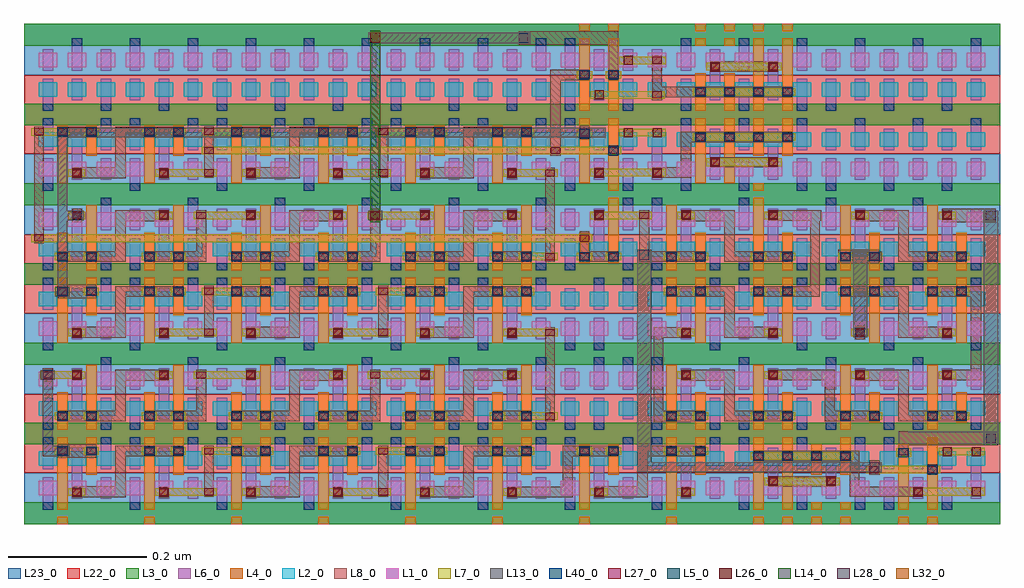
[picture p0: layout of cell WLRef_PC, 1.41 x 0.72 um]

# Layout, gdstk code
from math import pi, radians
import gdstk
lib = gdstk.Library(unit=1e-6, precision=2.5e-10)
def R(c, l, rs):  # rectangles x0, y0, x1, y1
    for r in rs: c.add(gdstk.rectangle(r[:2], r[2:], *l))
def A(c, l, x, y, w, h, nx, ny, dx, dy):  # array of equal rectangles
    R(c, l, [(x+i*dx, y+j*dy, x+i*dx+w, y+j*dy+h) for i in range(nx) for j in range(ny)])
def P(c, l, *ps):  # polygons
    for p in ps: c.add(gdstk.Polygon(p, *l))
L1_0 = (1, 0)
L2_0 = (2, 0)
L3_0 = (3, 0)
L4_0 = (4, 0)
L5_0 = (5, 0)
L6_0 = (6, 0)
L7_0 = (7, 0)
L8_0 = (8, 0)
L13_0 = (13, 0)
L14_0 = (14, 0)
L22_0 = (22, 0)
L23_0 = (23, 0)
L26_0 = (26, 0)
L27_0 = (27, 0)
L28_0 = (28, 0)
L32_0 = (32, 0)
L40_0 = (40, 0)

sram_filler = lib.new_cell('sram_filler')
R(sram_filler, L1_0, [(0.022,0.042,0.049,0.063), (0.064,0.042,0.091,0.063)])
R(sram_filler, L2_0, [(0.022,0.0845,0.049,0.1055), (0.064,0.0845,0.091,0.1055)])
R(sram_filler, L3_0, [(0.001,0,0.112,0.0315), (0.001,0.1155,0.112,0.147)])
R(sram_filler, L6_0, [(0.028,0.021,0.043,0.068), (0.07,0.037,0.085,0.068), (0.028,0.0795,0.043,0.1105), (0.07,0.0795,0.085,0.126)])
R(sram_filler, L22_0, [(0.001,0.0745,0.112,0.147)])
R(sram_filler, L23_0, [(0.001,0,0.112,0.0745)])
R(sram_filler, L40_0, [(0.028,0.021,0.043,0.0315), (0.07,0.1155,0.085,0.126)])

invx4 = lib.new_cell('invx4')
A(invx4, L1_0, 0.027, 0.042, 0.027, 0.021, 5, 1, 0.042, 0)
A(invx4, L2_0, 0.027, 0.0845, 0.027, 0.021, 5, 1, 0.042, 0)
R(invx4, L3_0, [(0.006,0,0.243,0.0315), (0.006,0.1155,0.243,0.147)])
R(invx4, L4_0, [(0.138,0,0.153,0.0105), (0.138,0.021,0.153,0.0315), (0.054,0.0315,0.069,0.126), (0.096,0.0315,0.111,0.126), (0.138,0.0715,0.153,0.1155), (0.18,0.0715,0.195,0.126), (0.054,0.1365,0.069,0.147), (0.096,0.1365,0.111,0.147), (0.18,0.1365,0.195,0.147)])
A(invx4, L5_0, 0.054, 0.092, 0.015, 0.013, 4, 1, 0.042, 0)
A(invx4, L6_0, 0.033, 0.021, 0.015, 0.047, 3, 1, 0.084, 0)
A(invx4, L6_0, 0.033, 0.0795, 0.015, 0.0465, 3, 1, 0.084, 0)
R(invx4, L6_0, [(0.075,0.037,0.09,0.1105), (0.159,0.037,0.174,0.1105)])
R(invx4, L7_0, [(0.07,0.0565,0.179,0.0675), (0.0505,0.093,0.1985,0.104)])
R(invx4, L8_0, [(0.0755,0.0545,0.1735,0.0695), (0.0545,0.091,0.1945,0.106)])
R(invx4, L22_0, [(0.006,0.0745,0.243,0.147)])
R(invx4, L23_0, [(0.006,0,0.243,0.0745)])
R(invx4, L26_0, [(0.076,0.0555,0.089,0.0685), (0.16,0.0555,0.173,0.0685)])
A(invx4, L27_0, 0.0545, 0.0935, 0.014, 0.01, 4, 1, 0.042, 0)
R(invx4, L27_0, [(0.0755,0.057,0.0895,0.067), (0.1595,0.057,0.1735,0.067)])
A(invx4, L40_0, 0.033, 0.021, 0.015, 0.0105, 3, 2, 0.084, 0.0945)

inv = lib.new_cell('inv')
A(inv, L1_0, 0.021, 0.042, 0.027, 0.021, 3, 1, 0.042, 0)
A(inv, L2_0, 0.021, 0.0845, 0.027, 0.021, 3, 1, 0.042, 0)
R(inv, L3_0, [(0,0,0.153,0.0315), (0,0.1155,0.153,0.147)])
R(inv, L4_0, [(0.048,0.0315,0.063,0.1155), (0.09,0.0715,0.105,0.1155)])
R(inv, L5_0, [(0.048,0.0995,0.063,0.1125), (0.09,0.0995,0.105,0.1125)])
R(inv, L6_0, [(0.027,0.021,0.042,0.068), (0.069,0.037,0.084,0.1105), (0.111,0.037,0.126,0.068), (0.027,0.0795,0.042,0.126), (0.111,0.0795,0.126,0.126)])
R(inv, L7_0, [(0.064,0.041,0.089,0.052), (0.0445,0.1005,0.0665,0.1115), (0.0865,0.1005,0.1085,0.1115)])
R(inv, L8_0, [(0.0695,0.039,0.0835,0.054), (0.0485,0.0985,0.1045,0.1135)])
R(inv, L22_0, [(0,0.0745,0.153,0.147)])
R(inv, L23_0, [(0,0,0.153,0.0745)])
R(inv, L26_0, [(0.07,0.04,0.083,0.053)])
R(inv, L27_0, [(0.0695,0.0415,0.0835,0.0515), (0.0485,0.101,0.0625,0.111), (0.0905,0.101,0.1045,0.111)])
R(inv, L40_0, [(0.027,0.021,0.042,0.0315), (0.027,0.1155,0.042,0.126), (0.111,0.1155,0.126,0.126)])

buffer = lib.new_cell('buffer')
R(buffer, L3_0, [(0.045,0.0065,0.0615,0.0165), (0.13,0.1315,0.145,0.143)])
R(buffer, L8_0, [(0.217,0.0435,0.2275,0.053)])
P(buffer, L8_0, [(0.2125,0.114),(0.2125,0.099),(0.167,0.099),(0.167,0.0395),(0.0895,0.0395),(0.0895,0.0555),(0.152,0.0555),(0.152,0.114)])
buffer.add(gdstk.Reference(inv, (0.146,0.0005)))
buffer.add(gdstk.Reference(inv, (0.02,0.0005)))

nand = lib.new_cell('nand')
A(nand, L1_0, 0.1255, 0.099, 0.027, 0.021, 4, 1, 0.042, 0)
A(nand, L2_0, 0.1255, 0.1415, 0.027, 0.021, 4, 1, 0.042, 0)
R(nand, L3_0, [(0.1045,0.057,0.2995,0.0885), (0.1045,0.1725,0.2995,0.204)])
R(nand, L4_0, [(0.1525,0.057,0.1675,0.0675), (0.1945,0.057,0.2095,0.0675), (0.1525,0.078,0.1675,0.183), (0.1945,0.078,0.2095,0.183), (0.1525,0.1935,0.1675,0.204), (0.1945,0.1935,0.2095,0.204)])
R(nand, L5_0, [(0.1525,0.1245,0.1675,0.1375), (0.1945,0.1245,0.2095,0.1375)])
A(nand, L6_0, 0.1735, 0.094, 0.015, 0.031, 3, 1, 0.042, 0)
R(nand, L6_0, [(0.1315,0.078,0.1465,0.125), (0.1315,0.1365,0.1465,0.183), (0.1735,0.1365,0.1885,0.1675), (0.2155,0.1365,0.2305,0.183), (0.2575,0.1365,0.2725,0.1675)])
R(nand, L7_0, [(0.2105,0.1045,0.2775,0.1155), (0.149,0.1255,0.171,0.1365), (0.191,0.1255,0.213,0.1365), (0.1685,0.1545,0.276,0.1655)])
R(nand, L8_0, [(0.258,0.1025,0.272,0.1675), (0.153,0.1235,0.167,0.1385), (0.195,0.1235,0.209,0.1385)])
R(nand, L22_0, [(0.1045,0.1315,0.2995,0.204)])
R(nand, L23_0, [(0.1045,0.057,0.2995,0.1315)])
R(nand, L26_0, [(0.2165,0.1035,0.2295,0.1165), (0.1745,0.1535,0.1875,0.1665)])
R(nand, L27_0, [(0.258,0.105,0.272,0.115), (0.153,0.126,0.167,0.136), (0.195,0.126,0.209,0.136), (0.258,0.155,0.272,0.165)])
R(nand, L40_0, [(0.1315,0.078,0.1465,0.0885), (0.1315,0.1725,0.1465,0.183), (0.2155,0.1725,0.2305,0.183)])

nor = lib.new_cell('nor')
A(nor, L1_0, 0.178, 0.0425, 0.027, 0.021, 4, 1, 0.042, 0)
A(nor, L2_0, 0.178, 0.085, 0.027, 0.021, 4, 1, 0.042, 0)
R(nor, L3_0, [(0.157,0.0005,0.352,0.032), (0.157,0.116,0.352,0.1475)])
R(nor, L4_0, [(0.247,0.0005,0.262,0.011), (0.247,0.0215,0.262,0.1265), (0.205,0.032,0.22,0.116), (0.247,0.137,0.262,0.1475)])
R(nor, L5_0, [(0.247,0.073,0.262,0.086), (0.205,0.0975,0.22,0.1105)])
R(nor, L6_0, [(0.184,0.0215,0.199,0.0685), (0.268,0.0215,0.283,0.0685), (0.226,0.0375,0.241,0.0685), (0.31,0.0375,0.325,0.111), (0.184,0.08,0.199,0.1265), (0.226,0.08,0.241,0.111), (0.268,0.08,0.283,0.111)])
R(nor, L7_0, [(0.221,0.042,0.33,0.053), (0.2435,0.074,0.2655,0.085), (0.2015,0.0985,0.2235,0.1105), (0.263,0.1,0.33,0.111)])
R(nor, L8_0, [(0.2265,0.04,0.2405,0.055), (0.2475,0.072,0.2615,0.087), (0.2055,0.098,0.2195,0.113)])
R(nor, L22_0, [(0.157,0.075,0.352,0.1325)])
R(nor, L23_0, [(0.157,0.0005,0.352,0.075)])
R(nor, L26_0, [(0.227,0.041,0.24,0.054), (0.311,0.041,0.324,0.054), (0.269,0.099,0.282,0.112), (0.311,0.099,0.324,0.112)])
R(nor, L27_0, [(0.2265,0.0425,0.2405,0.0525), (0.2475,0.0745,0.2615,0.0845), (0.2055,0.1005,0.2195,0.1105)])
R(nor, L40_0, [(0.184,0.0215,0.199,0.032), (0.268,0.0215,0.283,0.032), (0.184,0.116,0.199,0.1265)])

wlref_pc = lib.new_cell('WLRef_PC')
A(wlref_pc, L1_0, 0.106, 0.0425, 0.027, 0.021, 1, 3, 0, 0.231)
A(wlref_pc, L1_0, 0.232, 0.0425, 0.027, 0.021, 1, 3, 0, 0.231)
A(wlref_pc, L1_0, 0.358, 0.0425, 0.027, 0.021, 1, 3, 0, 0.231)
A(wlref_pc, L1_0, 0.484, 0.0425, 0.027, 0.021, 1, 3, 0, 0.231)
A(wlref_pc, L1_0, 0.61, 0.0425, 0.027, 0.021, 1, 3, 0, 0.231)
A(wlref_pc, L1_0, 0.736, 0.0425, 0.027, 0.021, 1, 3, 0, 0.231)
A(wlref_pc, L1_0, 1.114, 0.0425, 0.027, 0.021, 3, 2, 0.042, 0.6195)
A(wlref_pc, L1_0, 1.324, 0.0425, 0.027, 0.021, 3, 1, 0.042, 0)
A(wlref_pc, L1_0, 0.904, 0.431, 0.027, 0.021, 4, 1, 0.042, 0)
A(wlref_pc, L1_0, 0.862, 0.5045, 0.027, 0.021, 3, 1, 0.042, 0)
A(wlref_pc, L1_0, 1.03, 0.5045, 0.027, 0.021, 3, 1, 0.042, 0)
R(wlref_pc, L1_0, [(0.148,0.0425,0.175,0.0635), (0.274,0.0425,0.301,0.0635), (0.4,0.0425,0.427,0.0635), (0.526,0.0425,0.553,0.0635), (0.652,0.0425,0.679,0.0635), (0.778,0.0425,0.805,0.0635), (0.862,0.0425,0.889,0.0635), (0.904,0.0425,0.931,0.0635), (0.988,0.0425,1.015,0.0635), (1.03,0.0425,1.057,0.0635), (0.148,0.2,0.175,0.221), (0.19,0.2,0.217,0.221), (0.274,0.2,0.301,0.221), (0.316,0.2,0.343,0.221), (0.4,0.2,0.427,0.221), (0.442,0.2,0.469,0.221), (0.526,0.2,0.553,0.221), (0.568,0.2,0.595,0.221), (0.652,0.2,0.679,0.221), (0.694,0.2,0.721,0.221), (0.778,0.2,0.805,0.221), (0.82,0.2,0.847,0.221), (0.988,0.2,1.015,0.221), (1.03,0.2,1.057,0.221), (1.114,0.2,1.141,0.221), (1.156,0.2,1.183,0.221), (1.24,0.2,1.267,0.221), (1.282,0.2,1.309,0.221), (1.366,0.2,1.393,0.221), (1.408,0.2,1.435,0.221), (0.148,0.2735,0.175,0.2945), (0.274,0.2735,0.301,0.2945), (0.4,0.2735,0.427,0.2945), (0.526,0.2735,0.553,0.2945), (0.652,0.2735,0.679,0.2945), (0.778,0.2735,0.805,0.2945), (1.03,0.2735,1.057,0.2945), (1.072,0.2735,1.099,0.2945), (1.156,0.2735,1.183,0.2945), (1.198,0.2735,1.225,0.2945), (1.282,0.2735,1.309,0.2945), (1.324,0.2735,1.351,0.2945), (1.408,0.2735,1.435,0.2945), (1.45,0.2735,1.477,0.2945), (0.148,0.431,0.175,0.452), (0.19,0.431,0.217,0.452), (0.274,0.431,0.301,0.452), (0.316,0.431,0.343,0.452), (0.4,0.431,0.427,0.452), (0.442,0.431,0.469,0.452), (0.526,0.431,0.553,0.452), (0.568,0.431,0.595,0.452), (0.652,0.431,0.679,0.452), (0.694,0.431,0.721,0.452), (0.778,0.431,0.805,0.452), (0.82,0.431,0.847,0.452), (1.114,0.431,1.141,0.452), (1.156,0.431,1.183,0.452), (1.24,0.431,1.267,0.452), (1.282,0.431,1.309,0.452), (1.366,0.431,1.393,0.452), (1.408,0.431,1.435,0.452), (0.148,0.5045,0.175,0.5255), (0.274,0.5045,0.301,0.5255), (0.4,0.5045,0.427,0.5255), (0.526,0.5045,0.553,0.5255), (0.652,0.5045,0.679,0.5255), (0.778,0.5045,0.805,0.5255)])
A(wlref_pc, L2_0, 0.106, 0.085, 0.027, 0.021, 32, 1, 0.042, 0)
A(wlref_pc, L2_0, 0.106, 0.1575, 0.027, 0.021, 18, 2, 0.042, 0.1585)
A(wlref_pc, L2_0, 0.988, 0.1575, 0.027, 0.021, 12, 2, 0.042, 0.1585)
A(wlref_pc, L2_0, 0.106, 0.3885, 0.027, 0.021, 33, 1, 0.042, 0)
A(wlref_pc, L2_0, 0.106, 0.547, 0.027, 0.021, 21, 1, 0.042, 0)
A(wlref_pc, L2_0, 1.03, 0.547, 0.027, 0.021, 5, 2, 0.042, 0.0725)
A(wlref_pc, L2_0, 0.862, 0.6195, 0.027, 0.021, 3, 1, 0.042, 0)
A(wlref_pc, L4_0, 0.133, 0.0005, 0.015, 0.0105, 9, 1, 0.126, 0)
A(wlref_pc, L4_0, 1.183, 0.0005, 0.015, 0.0105, 3, 1, 0.042, 0)
A(wlref_pc, L4_0, 0.133, 0.0215, 0.015, 0.105, 6, 1, 0.126, 0)
A(wlref_pc, L4_0, 0.175, 0.072, 0.015, 0.0545, 6, 2, 0.126, 0.231)
A(wlref_pc, L4_0, 0.133, 0.137, 0.015, 0.0545, 6, 2, 0.126, 0.231)
A(wlref_pc, L4_0, 0.175, 0.137, 0.015, 0.0945, 6, 2, 0.126, 0.231)
A(wlref_pc, L4_0, 1.015, 0.137, 0.015, 0.0945, 4, 1, 0.126, 0)
A(wlref_pc, L4_0, 0.133, 0.263, 0.015, 0.0945, 6, 1, 0.126, 0)
A(wlref_pc, L4_0, 1.057, 0.263, 0.015, 0.0945, 4, 1, 0.126, 0)
A(wlref_pc, L4_0, 1.015, 0.303, 0.015, 0.0545, 4, 1, 0.126, 0)
A(wlref_pc, L4_0, 1.057, 0.368, 0.015, 0.0545, 4, 1, 0.126, 0)
A(wlref_pc, L4_0, 0.133, 0.494, 0.015, 0.084, 6, 1, 0.126, 0)
A(wlref_pc, L4_0, 0.175, 0.534, 0.015, 0.044, 6, 1, 0.126, 0)
A(wlref_pc, L4_0, 1.057, 0.7145, 0.015, 0.0105, 4, 1, 0.042, 0)
R(wlref_pc, L4_0, [(1.351,0.0005,1.366,0.011), (1.393,0.0005,1.408,0.011), (0.889,0.0215,0.904,0.116), (1.015,0.0215,1.03,0.1265), (1.141,0.0215,1.156,0.1265), (1.183,0.0215,1.198,0.1265), (1.267,0.0215,1.282,0.032), (1.351,0.0215,1.366,0.116), (1.393,0.0215,1.408,0.1265), (0.931,0.072,0.946,0.116), (1.057,0.072,1.072,0.1265), (1.225,0.072,1.24,0.116), (1.267,0.072,1.282,0.1265), (1.057,0.137,1.072,0.1915), (1.183,0.137,1.198,0.1915), (1.309,0.1475,1.324,0.1915), (1.435,0.1475,1.45,0.1915), (1.015,0.368,1.03,0.4625), (1.141,0.368,1.156,0.473), (1.267,0.368,1.282,0.4625), (1.393,0.368,1.408,0.4625), (0.889,0.3785,0.904,0.4225), (0.931,0.3785,0.946,0.473), (0.931,0.4835,0.946,0.5885), (0.889,0.494,0.904,0.5885), (1.057,0.494,1.072,0.5885), (1.099,0.494,1.114,0.5885), (1.141,0.534,1.156,0.5885), (1.183,0.534,1.198,0.5885), (0.889,0.599,0.904,0.704), (0.931,0.599,0.946,0.704), (1.057,0.599,1.072,0.6535), (1.099,0.599,1.114,0.6535), (1.141,0.599,1.156,0.704), (1.183,0.599,1.198,0.704), (1.057,0.6935,1.072,0.704)])
A(wlref_pc, L7_0, 0.275, 0.0415, 0.089, 0.011, 1, 3, 0, 0.231)
A(wlref_pc, L7_0, 0.527, 0.0415, 0.089, 0.011, 1, 3, 0, 0.231)
A(wlref_pc, L7_0, 0.342, 0.101, 0.0615, 0.011, 1, 3, 0, 0.231)
A(wlref_pc, L7_0, 0.594, 0.101, 0.0615, 0.011, 1, 3, 0, 0.231)
R(wlref_pc, L7_0, [(1.3045,0.074,1.4115,0.085), (0.8015,0.1515,0.8575,0.1625), (0.1085,0.211,0.174,0.222), (0.3305,0.211,0.426,0.222), (0.5825,0.211,0.678,0.222), (0.779,0.2725,0.8575,0.2835), (0.8015,0.3825,0.8575,0.3935), (0.0955,0.409,0.9075,0.42), (0.3305,0.442,0.426,0.453), (0.5825,0.442,0.678,0.453), (0.905,0.442,0.994,0.453), (0.779,0.5035,0.8575,0.5145), (0.9905,0.5045,1.0125,0.5145), (0.342,0.536,0.9495,0.547), (0.0955,0.563,0.1515,0.574)])
R(wlref_pc, L8_0, [(0.346,0.04,0.36,0.114), (0.598,0.04,0.612,0.114), (1.037,0.0405,1.049,0.054), (1.2005,0.0565,1.223,0.0675), (0.1335,0.0965,0.1895,0.1165), (0.8395,0.1495,0.8535,0.2855), (0.1125,0.2065,0.1265,0.2265), (1.2885,0.268,1.3025,0.288), (0.346,0.271,0.36,0.3455), (0.598,0.271,0.612,0.3455), (0.1335,0.3275,0.1895,0.3475), (1.2635,0.378,1.3235,0.398), (0.8395,0.3805,0.8535,0.5165), (0.8895,0.3805,0.9035,0.4245), (0.0995,0.4075,0.1135,0.576), (0.1545,0.4375,0.1685,0.4575), (1.4145,0.4375,1.492,0.4575), (0.346,0.502,0.36,0.5765), (0.598,0.502,0.612,0.5765), (1.115,0.5175,1.139,0.5295), (0.8895,0.5575,0.9035,0.5775), (0.158,0.564,0.1695,0.5725), (0.9945,0.619,1.074,0.634), (1.122,0.657,1.139,0.6695)])
P(wlref_pc, L8_0, [(1.471,0.345),(1.471,0.209),(1.4145,0.209),(1.4145,0.224),(1.456,0.224),(1.456,0.33),(1.429,0.33),(1.429,0.345)],
  [(1.3655,0.135),(1.3655,0.1345),(1.4955,0.1345),(1.4955,0.1145),(1.3655,0.1145),(1.3655,0.098),(1.3515,0.098),(1.3515,0.135)],
  [(1.324,0.093),(1.324,0.072),(1.3085,0.072),(1.3085,0.087),(1.3095,0.087),(1.3095,0.093)],
  [(1.2945,0.1065),(1.2945,0.055),(1.3865,0.055),(1.3865,0.04),(1.2805,0.04),(1.2805,0.0915),(1.2675,0.0915),(1.2675,0.1065)],
  [(1.2395,0.455),(1.2395,0.44),(1.237,0.44),(1.237,0.33),(1.1775,0.33),(1.1775,0.345),(1.223,0.345),(1.223,0.44),(1.1625,0.44),(1.1625,0.455)],
  [(1.2585,0.224),(1.2585,0.1645),(1.2875,0.1645),(1.2875,0.1495),(1.2445,0.1495),(1.2445,0.209),(1.1625,0.209),(1.1625,0.224)],
  [(1.0505,0.2855),(1.0505,0.2705),(1.0105,0.2705),(1.0105,0.1645),(1.0505,0.1645),(1.0505,0.1485),(0.9965,0.1485),(0.9965,0.2855)],
  [(1.074,0.5685),(1.074,0.5535),(1.051,0.5535),(1.051,0.502),(0.9945,0.502),(0.9945,0.517),(1.036,0.517),(1.036,0.5685)],
  [(0.99,0.455),(0.99,0.3955),(1.0295,0.3955),(1.0295,0.3805),(0.976,0.3805),(0.976,0.455)],
  [(0.9035,0.6585),(0.9035,0.6435),(0.862,0.6435),(0.862,0.534),(0.847,0.534),(0.847,0.6585)],
  [(0.9455,0.7145),(0.9455,0.6435),(0.9315,0.6435),(0.9315,0.6945),(0.801,0.6945),(0.801,0.7145)],
  [(0.9125,0.114),(0.9125,0.099),(0.8795,0.099),(0.8795,0.0395),(0.7845,0.0395),(0.7845,0.0545),(0.865,0.0545),(0.865,0.114)],
  [(0.6005,0.4575),(0.6005,0.3805),(0.5535,0.3805),(0.5535,0.3955),(0.5865,0.3955),(0.5865,0.4575)],
  [(0.6005,0.224),(0.6005,0.1495),(0.5535,0.1495),(0.5535,0.1645),(0.5865,0.1645),(0.5865,0.224)],
  [(0.3485,0.455),(0.3485,0.3805),(0.3015,0.3805),(0.3015,0.3955),(0.3345,0.3955),(0.3345,0.455)],
  [(0.3485,0.224),(0.3485,0.1495),(0.3015,0.1495),(0.3015,0.1645),(0.3345,0.1645),(0.3345,0.224)])
R(wlref_pc, L13_0, [(1.4745,0.1145,1.4955,0.4545), (0.5835,0.4405,0.6035,0.4545), (0.5835,0.697,0.818,0.712)])
P(wlref_pc, L13_0, [(1.3265,0.395),(1.3265,0.381),(1.3055,0.381),(1.3055,0.271),(1.2855,0.271),(1.2855,0.381),(1.285,0.381),(1.285,0.395)],
  [(0.993,0.3975),(0.993,0.0905),(1.327,0.0905),(1.327,0.0755),(0.973,0.0755),(0.973,0.3975)],
  [(0.9275,0.5745),(0.9275,0.5605),(0.1475,0.5605),(0.1475,0.4545),(0.1715,0.4545),(0.1715,0.4405),(0.1475,0.4405),(0.1475,0.3445),(0.1505,0.3445),(0.1505,0.3305),(0.1475,0.3305),(0.1475,0.33),(0.1335,0.33),(0.1335,0.3305),(0.1305,0.3305),(0.1305,0.3445),(0.1335,0.3445),(0.1335,0.5745)],
  [(0.1265,0.224),(0.1265,0.2235),(0.1295,0.2235),(0.1295,0.2095),(0.1265,0.2095),(0.1265,0.114),(0.1505,0.114),(0.1505,0.099),(0.1125,0.099),(0.1125,0.2095),(0.1095,0.2095),(0.1095,0.2235),(0.1125,0.2235),(0.1125,0.224)])
R(wlref_pc, L14_0, [(0.586,0.4375,0.601,0.715)])
R(wlref_pc, L23_0, [(0.868,0.1885,0.967,0.306), (1.246,0.494,1.498,0.537), (0.085,0.6505,0.841,0.725), (1.246,0.6505,1.498,0.725)])
R(wlref_pc, L27_0, [(0.346,0.0425,0.36,0.0525), (0.598,0.0425,0.612,0.0525), (1.3085,0.0745,1.3225,0.0845), (0.346,0.1015,0.36,0.1115), (0.598,0.1015,0.612,0.1115), (0.8395,0.152,0.8535,0.162), (0.1125,0.2115,0.1265,0.2215), (0.3345,0.2115,0.3485,0.2215), (0.5865,0.2115,0.6005,0.2215), (0.8395,0.273,0.8535,0.283), (0.346,0.2735,0.36,0.2835), (0.598,0.2735,0.612,0.2835), (0.346,0.333,0.36,0.343), (0.598,0.333,0.612,0.343), (0.8395,0.383,0.8535,0.393), (0.8895,0.4095,0.9035,0.4195), (0.0995,0.41,0.1135,0.42), (0.3345,0.4425,0.3485,0.4525), (0.5865,0.4425,0.6005,0.4525), (0.976,0.4425,0.99,0.4525), (0.8395,0.504,0.8535,0.514), (0.346,0.5045,0.36,0.5145), (0.598,0.5045,0.612,0.5145), (0.9945,0.5045,1.0085,0.5145), (0.346,0.5365,0.36,0.5465), (0.8475,0.5365,0.8615,0.5465), (0.0995,0.5635,0.1135,0.5735), (0.346,0.564,0.36,0.574), (0.598,0.564,0.612,0.574)])
R(wlref_pc, L28_0, [(1.3095,0.076,1.3235,0.09), (0.1335,0.0995,0.1475,0.1135), (1.478,0.1175,1.492,0.1315), (0.1125,0.2095,0.1265,0.2235), (1.2885,0.271,1.3025,0.285), (0.1335,0.3305,0.1475,0.3445), (1.3095,0.381,1.3235,0.395), (0.976,0.3835,0.99,0.3975), (0.1545,0.4405,0.1685,0.4545), (0.5865,0.4405,0.6005,0.4545), (1.4775,0.4405,1.4915,0.4545), (0.8895,0.5605,0.9035,0.5745), (0.801,0.6975,0.815,0.7115)])
R(wlref_pc, L32_0, [(0.5865,0.4405,0.6005,0.4545), (0.5865,0.698,0.6005,0.712)])
wlref_pc.add(gdstk.Reference(sram_filler, (0.197,0.725), rotation=pi))
wlref_pc.add(gdstk.Reference(sram_filler, (0.281,0.725), rotation=pi))
wlref_pc.add(gdstk.Reference(sram_filler, (0.365,0.725), rotation=pi))
wlref_pc.add(gdstk.Reference(sram_filler, (0.449,0.725), rotation=pi))
wlref_pc.add(gdstk.Reference(sram_filler, (0.533,0.725), rotation=pi))
wlref_pc.add(gdstk.Reference(sram_filler, (0.617,0.725), rotation=pi))
wlref_pc.add(gdstk.Reference(sram_filler, (0.701,0.725), rotation=pi))
wlref_pc.add(gdstk.Reference(sram_filler, (0.785,0.725), rotation=pi))
wlref_pc.add(gdstk.Reference(sram_filler, (0.869,0.725), rotation=pi))
wlref_pc.add(gdstk.Reference(sram_filler, (1.499,0.725), rotation=pi))
wlref_pc.add(gdstk.Reference(sram_filler, (1.415,0.725), rotation=pi))
wlref_pc.add(gdstk.Reference(sram_filler, (1.331,0.725), rotation=pi))
wlref_pc.add(gdstk.Reference(sram_filler, (1.386,0.4625)))
wlref_pc.add(gdstk.Reference(sram_filler, (1.302,0.4625)))
wlref_pc.add(gdstk.Reference(sram_filler, (1.218,0.4625)))
wlref_pc.add(gdstk.Reference(sram_filler, (0.953,0.263), rotation=pi))
wlref_pc.add(gdstk.Reference(sram_filler, (0.995,0.263), rotation=pi))
wlref_pc.add(gdstk.Reference(sram_filler, (0.882,0.2315)))
wlref_pc.add(gdstk.Reference(sram_filler, (0.84,0.2315)))
wlref_pc.add(gdstk.Reference(invx4, (1.252,0.725), rotation=pi))
wlref_pc.add(gdstk.Reference(invx4, (1.087,0.0005)))
wlref_pc.add(gdstk.Reference(invx4, (1.003,0.4625)))
wlref_pc.add(gdstk.Reference(buffer, (1.199,0.2635), x_reflection=True))
wlref_pc.add(gdstk.Reference(buffer, (1.518,0.231), rotation=pi, x_reflection=True))
wlref_pc.add(gdstk.Reference(buffer, (1.199,0.4945), x_reflection=True))
wlref_pc.add(gdstk.Reference(buffer, (0.821,0)))
wlref_pc.add(gdstk.Reference(buffer, (0.947,0.2635), x_reflection=True))
wlref_pc.add(gdstk.Reference(buffer, (1.266,0.231), rotation=pi, x_reflection=True))
wlref_pc.add(gdstk.Reference(buffer, (0.947,0.4945), x_reflection=True))
wlref_pc.add(gdstk.Reference(buffer, (0.384,0.4945), rotation=pi))
wlref_pc.add(gdstk.Reference(buffer, (0.636,0.4945), rotation=pi))
wlref_pc.add(gdstk.Reference(buffer, (0.888,0.4945), rotation=pi))
wlref_pc.add(gdstk.Reference(buffer, (0.569,0.462)))
wlref_pc.add(gdstk.Reference(buffer, (0.317,0.462)))
wlref_pc.add(gdstk.Reference(buffer, (0.065,0.462)))
wlref_pc.add(gdstk.Reference(buffer, (0.065,0)))
wlref_pc.add(gdstk.Reference(buffer, (0.317,0)))
wlref_pc.add(gdstk.Reference(buffer, (0.569,0)))
wlref_pc.add(gdstk.Reference(buffer, (0.065,0.231)))
wlref_pc.add(gdstk.Reference(buffer, (0.317,0.231)))
wlref_pc.add(gdstk.Reference(buffer, (0.569,0.231)))
wlref_pc.add(gdstk.Reference(buffer, (0.888,0.2635), rotation=pi))
wlref_pc.add(gdstk.Reference(buffer, (0.636,0.2635), rotation=pi))
wlref_pc.add(gdstk.Reference(buffer, (0.384,0.2635), rotation=pi))
wlref_pc.add(gdstk.Reference(nand, (0.7365,0.782), x_reflection=True))
wlref_pc.add(gdstk.Reference(inv, (0.994,0.494), rotation=pi))
wlref_pc.add(gdstk.Reference(nor, (1.146,0)))
wlref_pc.add(gdstk.Reference(nor, (0.684,0.462)))

lib.write_gds('WLRef_PC.gds')
